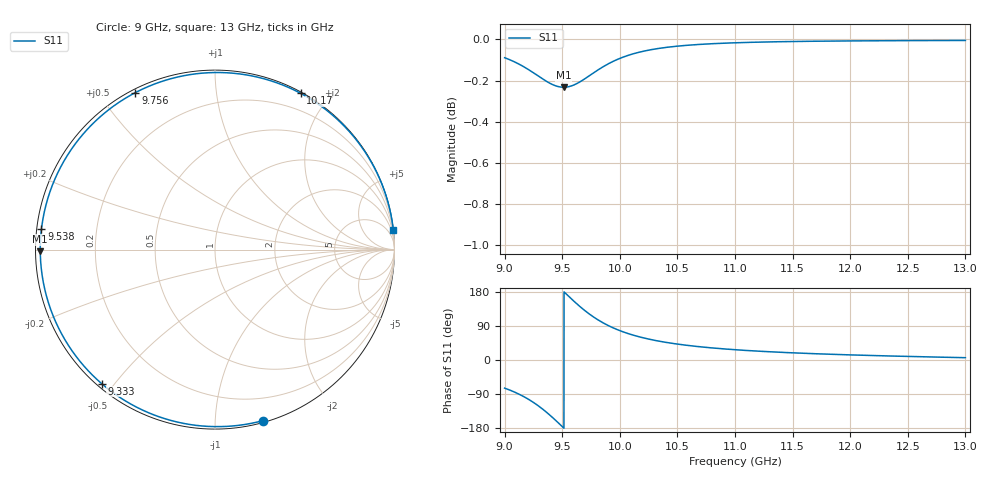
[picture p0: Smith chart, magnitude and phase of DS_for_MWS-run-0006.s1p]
! TOUCHSTONE file generated by CST DESIGN STUDIO
! Date and time: Tue Feb  4 12:32:11 2025
! Project name: C:\Work\MatlabApps\UnitCellOptimizationMatlab\CST\unitcell.cst
! Tree item: Tasks\Sweep1\SPara1\S-Parameters
! Header version: 2024
! Port assignment regex: !\s*Touchstone port\s*([0-9]+)\s*=\s*(CST MWS port|CST DES external port|CST DES block port)\s*(.+)\s* \(\"(.*)\"\)(\s*mode\s*([0-9]+))?.*
! Touchstone port assignment:
! Touchstone port 1 = CST DES external port 1 ("")
# GHz S MA R 50
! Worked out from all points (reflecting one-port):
!   4001 points, 9 GHz to 13 GHz, reference 50 ohm
!   lowest |S11| = -0.2 dB at 9.513 GHz (marker M1), VSWR 74.65, Z = 0.67 - j0.261 ohm
!   phase of S11 starts at -74 deg and turns -280 deg over the sweep
!   S11 on the Smith chart (normalised r, x): 9 GHz: 0.01, -1.32; 9.333 GHz: 0.01, -0.46; 9.538 GHz: 0.01, +0.06; 9.756 GHz: 0.01, +0.61; 10.17 GHz: 0.01, +1.69; 13 GHz: 0, +19
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9  0.9898 -74.2
9.089  0.9874 -85.0
9.193  0.9838 -101.2
9.266  0.9808 -115.2
9.333  0.978 -130.3
9.378  0.9763 -141.5
9.425  0.9748 -154.2
9.463  0.974 -164.9
9.5  0.9736 -175.6
9.513  0.9736 -179.4
9.538  0.9737 173.3
9.592  0.9746 157.8
9.652  0.9764 141.6
9.703  0.9785 128.8
9.756  0.9807 116.9
9.807  0.9829 106.6
9.862  0.9851 96.9
10  0.9894 77.5
10.08  0.9913 69.0
10.167  0.9928 61.3
10.319  0.9948 50.9
10.5  0.9962 42.0
10.722  0.9973 34.1
11  0.9981 27.1
11.5  0.9988 18.9
12  0.9991 13.5
12.5  0.9993 9.4
13  0.9994 6.1
